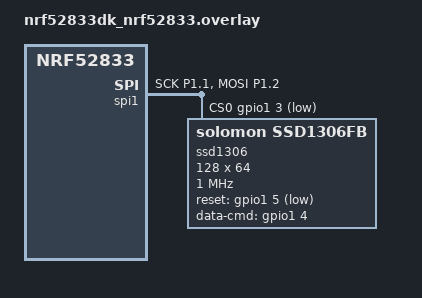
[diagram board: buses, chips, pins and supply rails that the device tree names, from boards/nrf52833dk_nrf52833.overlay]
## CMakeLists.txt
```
cmake_minimum_required(VERSION 3.20.0)

find_package(Zephyr REQUIRED HINTS $ENV{ZEPHYR_BASE})
project(tympanometer)

target_sources(app PRIVATE src/main.c src/display.c)
```

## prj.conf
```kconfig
# Display
CONFIG_DISPLAY=y
CONFIG_SSD1306=y

# Switching to SPI instead of I2C
CONFIG_SPI=y

# Memory for display driver framebuffer
CONFIG_HEAP_MEM_POOL_SIZE=2048

# GPIO needed for DC and RES pins
CONFIG_GPIO=y

CONFIG_MAIN_STACK_SIZE=4096

CONFIG_SYSTEM_WORKQUEUE_STACK_SIZE=2048
```

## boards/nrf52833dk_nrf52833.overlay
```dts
/ {
    chosen {
        zephyr,display = &ssd1306;
    };
};

&pinctrl {
    spi1_default: spi1_default {
        group1 {
            psels = <NRF_PSEL(SPIM_SCK, 1, 1)>,
                    <NRF_PSEL(SPIM_MOSI, 1, 2)>;
        };
    };

    spi1_sleep: spi1_sleep {
        group1 {
            psels = <NRF_PSEL(SPIM_SCK, 1, 1)>,
                    <NRF_PSEL(SPIM_MOSI, 1, 2)>;
            low-power-enable;
        };
    };
};

&spi1 {
    status = "okay";
    compatible = "nordic,nrf-spim";
    pinctrl-0 = <&spi1_default>;
    pinctrl-1 = <&spi1_sleep>;
    pinctrl-names = "default", "sleep";
    cs-gpios = <&gpio1 3 GPIO_ACTIVE_LOW>;

    ssd1306: ssd1306@0 {
        compatible = "solomon,ssd1306fb";
        reg = <0>;
        spi-max-frequency = <1000000>;
        width = <128>;
        height = <64>;
        segment-offset = <0>;
        page-offset = <0>;
        display-offset = <0>;
        multiplex-ratio = <63>;
        segment-remap;
        com-invdir;
        prechargep = <0x22>;
        reset-gpios = <&gpio1 5 GPIO_ACTIVE_LOW>;
        data-cmd-gpios = <&gpio1 4 GPIO_ACTIVE_HIGH>;
    };
};

&i2c0 {
    status = "disabled";
};
```

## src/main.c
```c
/* main.c - display test harness: cycles through all screen states on the DK */

#include "display.h"
#include <zephyr/kernel.h>
#include <string.h>          /* strncpy */

/* Build a fake measurement (Lorentzian peak) so we can exercise Results/Summary. */
static void make_demo(struct tymp_results *r, const char *type, char ear,
                      int16_t conf, int16_t ecv, int16_t sa, int16_t tpp,
                      int ppp, int peak_sa, int base, int width)
{
	strncpy(r->type, type, sizeof(r->type));
	r->ear = ear;
	r->confidence_x100 = conf;
	r->ecv_x10 = ecv;
	r->sa_x100 = sa;
	r->tpp_dapa = tpp;
	r->n_points = 64;
	int n = r->n_points;
	int peak = (400 + ppp) * (n - 1) / 600;
	for (int i = 0; i < n; i++) {
		r->points[i].pressure_dapa = (int16_t)(-400 + i * 600 / (n - 1));
		int d = i - peak;
		int k = (d > 0) ? 3 : 2;
		int v = peak_sa * width / (width + d * d * k);
		r->points[i].admittance_x100 = (int16_t)(v < base ? base : v);
	}
}

int main(void)
{
	if (display_init() != 0)
		return -1;                 /* panel not ready - bail */

	static struct tymp_results left, right;
	make_demo(&left,  "A", 'L', 92, 11, 65,    0,    0, 65, 10, 50);  /* Type A */
	make_demo(&right, "C", 'R', 90, 11, 55, -150, -150, 55, 10, 50);  /* Type C */

	for (int i = 0; i < 5; i++) display_set_post(i, true);   /* boot checklist all OK */
	display_set_battery(85);

	while (1) {
		display_set_ear('L');
		display_show_state(DISPLAY_BOOT);          k_sleep(K_SECONDS(2));
		display_show_state(DISPLAY_READY);         k_sleep(K_SECONDS(2));
		display_show_state(DISPLAY_SEEKING_SEAL);  k_sleep(K_SECONDS(2));
		display_show_state(DISPLAY_MEASURING);     k_sleep(K_SECONDS(2));  /* blank */
		display_show_tymp(&left);                  k_sleep(K_SECONDS(6));  /* watch it page */
		display_show_state(DISPLAY_REARM);         k_sleep(K_SECONDS(2));

		display_set_ear('R');
		display_show_state(DISPLAY_SEEKING_SEAL);  k_sleep(K_SECONDS(2));
		display_show_state(DISPLAY_MEASURING);     k_sleep(K_SECONDS(2));
		display_show_tymp(&right);                 k_sleep(K_SECONDS(6));

		display_show_state(DISPLAY_SUMMARY);       k_sleep(K_SECONDS(3));
		display_show_state(DISPLAY_WARNING);       k_sleep(K_SECONDS(2));
		display_show_state(DISPLAY_ERROR);         k_sleep(K_SECONDS(2));

		static const int demo_angles[][2] = {
			{ 12, -7 }, { 0, -14 }, { -12, -7 }, { -14, 0 },
			{ -12, 7 }, { 0, 14 }, { 12, 7 }, { 14, 0 },
			{ 8, 5 }, { 4, 2 }, { 0, 0 },
		};
		for (int i = 0; i < (int)(sizeof(demo_angles)/sizeof(demo_angles[0])); i++) {
			display_set_angle(demo_angles[i][0], demo_angles[i][1]);
			display_show_state(DISPLAY_LEVEL);
			k_sleep(K_MSEC(400));
		}
		display_show_state(DISPLAY_SLEEP);         k_sleep(K_SECONDS(2));
		
	}
}
```

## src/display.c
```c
#include "display.h" // includes my own header, so that .c knows about tymp_results, display_state, and the macros
#include <zephyr/kernel.h> // timers, sleep
#include <zephyr/device.h> // device binding macros
#include <zephyr/drivers/display.h> // display driver API
#include <string.h> // memset, strcpy
#include <stdint.h>
#include <stdbool.h>

static const struct device *disp; // global variable for the display device
static uint8_t fb[DISPLAY_WIDTH * DISPLAY_HEIGHT / 8]; // framebuffer for the display, 1 bit per pixel

static struct tymp_results cur; // global variable to hold the current results, so that display can access them. I didn't use a pointer, to make sure the memory doesn't have to stay valid forever. 
static int results_page; // global variable to track which page of results we're on, since there are more results than can fit on the display at once

static struct tymp_results res_left, res_right; // global variables to hold the left and right ear results, so that we can display them when we have them both. I didn't use pointers, to make sure the memory doesn't have to stay valid forever.
static bool have_left, have_right; // global variables to track whether we have the left and right ear results, so that we know when to display them.

static int tilt_x_deg, tilt_y_deg; // global variables to hold the current tilt of the device, which will affect the display during seeking seal
static int isqrt(int v) { int r = 0; while ((r+1)*(r+1) <= v) r++; return r; }
static int batt_pct = 100; // global variable for battery percentage, initialized to 100%
static char cur_ear = 'L'; // global variable for current ear, initialized to 'L'
static bool post_ok[5]; // global variable for POST results
static int seal_phase; // global variable for seal phase, which will affect the display during seeking seal

static const uint8_t font[][3] = {
	{0x1F,0x11,0x1F},{0x12,0x1F,0x10},{0x1D,0x15,0x17},{0x15,0x15,0x1F}, /* 0-3 */
	{0x07,0x04,0x1F},{0x17,0x15,0x1D},{0x1F,0x15,0x1D},{0x01,0x01,0x1F}, /* 4-7 */
	{0x1F,0x15,0x1F},{0x17,0x15,0x1F},                                   /* 8-9 */
	{0x04,0x0E,0x04},{0x04,0x04,0x04},{0x10,0x00,0x00},                  /* + - . */
	{0x1E,0x05,0x1E},{0x1F,0x15,0x0A},{0x0E,0x11,0x11},{0x1F,0x15,0x11}, /* A B C E */
	{0x1F,0x10,0x10},{0x1F,0x05,0x02},{0x12,0x15,0x09},                  /* L P S */
	{0x07,0x18,0x07},                                                    /* V (improved) */
	{0x0C,0x16,0x1E},{0x1C,0x14,0x1F},{0x1E,0x06,0x1E},                  /* a d m */
	{0x1F,0x05,0x1A},{0x01,0x1F,0x01},                                   /* R T (new) */
};
static int fidx(char c)
{
	if (c >= '0' && c <= '9') return c - '0';
	switch (c) {
	case '+': return 10; case '-': return 11; case '.': return 12;
	case 'A': return 13; case 'B': return 14; case 'C': return 15;
	case 'E': return 16; case 'L': return 17; case 'P': return 18;
	case 'S': case 's': return 19; case 'V': return 20;
	case 'a': return 21; case 'd': return 22; case 'm': return 23;
	case 'R': return 24; case 'T': return 25;
	}
	return -1;
}

static inline void setpx(int x, int y)
{
	if ((unsigned)x < DISPLAY_WIDTH && (unsigned)y < DISPLAY_HEIGHT)
		fb[(y >> 3) * DISPLAY_WIDTH + x] |= 1 << (y & 7);
}
static void hline(int x0, int x1, int y) { for (int x = x0; x <= x1; x++) setpx(x, y); }
static void vline(int x, int y0, int y1) { for (int y = y0; y <= y1; y++) setpx(x, y); }

static void glyph(int x, int y, char c, int sx, int sy)
{
	int i = fidx(c);
	if (i < 0) return;
	for (int col = 0; col < 3; col++) {
		uint8_t b = font[i][col];
		for (int row = 0; row < 5; row++)
			if (b & (1 << row))
				for (int dy = 0; dy < sy; dy++)
					for (int dx = 0; dx < sx; dx++)
						setpx(x + col*sx + dx, y + row*sy + dy);
	}
}
static int text(int x, int y, const char *s, int sx, int sy)
{
	for (; *s; s++) {
		if (*s != ' ') glyph(x, y, *s, sx, sy);
		x += (*s == '.') ? 2*sx : 4*sx;
	}
	return x;
}
static int uint_to_str(char *buf, unsigned v)
{
	char tmp[6]; int n = 0;
	do { tmp[n++] = '0' + v % 10; v /= 10; } while (v);
	int i = 0; while (n--) buf[i++] = tmp[n];
	return i;
}
static int num(int x, int y, int v, int sx, int sy)
{
	char buf[8]; int i = 0;
	if (v < 0) { buf[i++] = '-'; v = -v; }
	i += uint_to_str(buf + i, v); buf[i] = 0;
	return text(x, y, buf, sx, sy);
}
static int decN(int x, int y, int v, int dec, int sx, int sy)
{
	char buf[12]; int i = 0;
	if (v < 0) { buf[i++] = '-'; v = -v; }
	int divisor = 1; for (int d = 0; d < dec; d++) divisor *= 10;
	i += uint_to_str(buf + i, v / divisor);
	buf[i++] = '.';
	int frac = v % divisor;
	for (int d = dec - 1; d >= 0; d--) {
		int p = 1; for (int k = 0; k < d; k++) p *= 10;
		buf[i++] = '0' + (frac / p) % 10;
	}
	buf[i] = 0;
	return text(x, y, buf, sx, sy);
}

static const struct { char c; uint8_t col[5]; } font57[] = {
	{'A',{0x7E,0x09,0x09,0x09,0x7E}},{'B',{0x7F,0x49,0x49,0x49,0x36}},
	{'C',{0x3E,0x41,0x41,0x41,0x22}},{'D',{0x7F,0x41,0x41,0x22,0x1C}},
	{'E',{0x7F,0x49,0x49,0x49,0x41}},{'F',{0x7F,0x09,0x09,0x09,0x01}},
	{'G',{0x3E,0x41,0x49,0x49,0x3A}},{'H',{0x7F,0x08,0x08,0x08,0x7F}},
	{'I',{0x00,0x41,0x7F,0x41,0x00}},{'J',{0x30,0x40,0x41,0x3F,0x01}},
	{'K',{0x7F,0x08,0x1C,0x22,0x41}},{'L',{0x7F,0x40,0x40,0x40,0x40}},
	{'M',{0x7F,0x02,0x0C,0x02,0x7F}},{'N',{0x7F,0x02,0x0C,0x10,0x7F}},
	{'O',{0x3E,0x41,0x41,0x41,0x3E}},{'P',{0x7F,0x09,0x09,0x09,0x06}},
	{'R',{0x7F,0x09,0x19,0x29,0x46}},{'S',{0x46,0x49,0x49,0x09,0x30}},
	{'T',{0x01,0x01,0x7F,0x01,0x01}},{'U',{0x3F,0x40,0x40,0x40,0x3F}},
	{'V',{0x0F,0x30,0x40,0x30,0x0F}},{'W',{0x7F,0x20,0x18,0x20,0x7F}},
	{'X',{0x63,0x14,0x08,0x14,0x63}},{'Y',{0x03,0x04,0x78,0x04,0x03}},
	{'Z',{0x61,0x51,0x49,0x45,0x43}},
	{'0',{0x3E,0x51,0x4D,0x43,0x3E}},{'1',{0x00,0x42,0x7F,0x40,0x00}},
	{'2',{0x62,0x51,0x49,0x49,0x46}},{'3',{0x21,0x41,0x45,0x47,0x39}},
	{'4',{0x18,0x14,0x12,0x7F,0x10}},{'5',{0x27,0x45,0x45,0x45,0x39}},
	{'6',{0x3C,0x4A,0x49,0x49,0x30}},{'7',{0x01,0x71,0x09,0x05,0x03}},
	{'8',{0x36,0x49,0x49,0x49,0x36}},{'9',{0x06,0x49,0x49,0x29,0x1E}},
	{' ',{0x00,0x00,0x00,0x00,0x00}},{'.',{0x00,0x60,0x60,0x00,0x00}},
	{'-',{0x00,0x08,0x08,0x08,0x00}},{'!',{0x00,0x00,0x5F,0x00,0x00}},
	{':',{0x00,0x36,0x36,0x00,0x00}},
};
static const uint8_t *font57_lookup(char c)
{
	for (unsigned i = 0; i < sizeof(font57)/sizeof(font57[0]); i++)
		if (font57[i].c == c) return font57[i].col;
	return NULL;
}
static void glyph57(int x, int y, char c, int sx, int sy)
{
	const uint8_t *g = font57_lookup(c);
	if (!g) return;
	for (int col = 0; col < 5; col++) {
		uint8_t b = g[col];
		for (int row = 0; row < 7; row++)
			if (b & (1 << row))
				for (int dy = 0; dy < sy; dy++)
					for (int dx = 0; dx < sx; dx++)
						setpx(x + col*sx + dx, y + row*sy + dy);
	}
}
static int text57(int x, int y, const char *s, int sx)
{
	for (; *s; s++) { glyph57(x, y, *s, sx, sx); x += 6 * sx; }
	return x;
}
static void ctext57(int y, const char *s, int sx)
{
	int w = 0; for (const char *p = s; *p; p++) w += 6 * sx;
	text57((DISPLAY_WIDTH - w) / 2, y, s, sx);
}

static void circle(int cx, int cy, int r) {
	int x = r, y = 0, err = 1 - r;
	while (x >= y) {
		setpx(cx+x,cy+y); setpx(cx+y,cy+x); setpx(cx-x,cy+y); setpx(cx-y,cy+x);
		setpx(cx-x,cy-y); setpx(cx-y,cy-x); setpx(cx+x,cy-y); setpx(cx+y,cy-x);
		y++;
		if (err < 0) err += 2*y + 1;
		else { x--; err += 2*(y - x) + 1; }
	}
}

static void draw_battery(int x, int y, int pct)
{
	hline(x, x+10, y); hline(x, x+10, y+6);
	vline(x, y, y+6);  vline(x+10, y, y+6);
	vline(x+11, y+2, y+4);
	int bars = (pct * 3 + 50) / 100;
	for (int b = 0; b < bars; b++)
		for (int xx = x+2+b*3; xx < x+4+b*3; xx++) vline(xx, y+2, y+4);
}

static void disc(int cx, int cy, int r)          /* filled disc */
{
	for (int yy = -r; yy <= r; yy++)
		for (int xx = -r; xx <= r; xx++)
			if (xx*xx + yy*yy <= r*r) setpx(cx+xx, cy+yy);
}

static const char *ble_rows[9] = {
	"..#..","..##.","#.#.#",".###.","..#..",".###.","#.#.#","..##.","..#.."
};
static void draw_ble(int x, int y)
{
	for (int r = 0; r < 9; r++)
		for (int c = 0; c < 5; c++)
			if (ble_rows[r][c] == '#') setpx(x + c, y + r);
}
static void draw_check(int x, int y)
{
	setpx(x+4,y); setpx(x+3,y+1); setpx(x,y+2); setpx(x+2,y+2);
	setpx(x+1,y+3); setpx(x+2,y+4);
}
static void draw_warn(int cx, int y)            /* warning triangle with ! */
{
	for (int i = 0; i < 11; i++) { setpx(cx-i, y+i); setpx(cx+i, y+i); }
	hline(cx-10, cx+10, y+11);
	vline(cx, y+3, y+7); setpx(cx, y+9);
}
static void draw_x(int x, int y)                /* 13x13 error X */
{
	for (int i = 0; i < 13; i++) { setpx(x+i, y+i); setpx(x+12-i, y+i); }
}
static void draw_dot(int x, int y, bool filled) /* 3x3 filled or outline */
{
	for (int yy = y; yy < y+3; yy++)
		for (int xx = x; xx < x+3; xx++)
			if (filled || xx==x || xx==x+2 || yy==y || yy==y+2) setpx(xx, yy);
}

int display_init(void) {
    disp = DEVICE_DT_GET(DT_CHOSEN(zephyr_display)); // get the display device from the device tree
    if (!device_is_ready(disp))
        return -ENODEV; // no such device error if display is not ready
    display_blanking_off(disp); // turn on the display
    return 0;   
    }

void display_blank(void) {
    display_blanking_on(disp); // turn off the display. this is what measuring and sleep modes will call to save power
}
 
static void flush(void)
{
	display_blanking_off(disp);          /* panel on whenever we draw */
	struct display_buffer_descriptor desc = {
		.buf_size = sizeof(fb),
		.width    = DISPLAY_WIDTH,
		.height   = DISPLAY_HEIGHT,
		.pitch    = DISPLAY_WIDTH,
	};
	display_write(disp, 0, 0, &desc, fb);
}

static void draw_pinned(void) {
    glyph(STAT_TYPE_X, STAT_TYPE_Y, cur.type[0], 2, 3);
    if (cur.type[1])
        glyph(STAT_TYPE_SUFFIX_X, STAT_TYPE_SUFFIX_Y, cur.type[1], 2, 3);
    glyph(STAT_EAR_X, STAT_EAR_Y, cur.ear, 2, 2);       
    }

static void draw_page(void) {
    if (results_page == 0) {
        decN(CONF_X, STAT_VALUE_Y, cur.confidence_x100, 2, 2, 2);
    } else {
        text(ECV_X, STAT_LABEL_Y, "ECV", 1, 1);
        decN(ECV_X, STAT_VALUE_Y, cur.ecv_x10, 1, 2, 2);
        text(SA_X, STAT_LABEL_Y, "SA", 1, 1);
        decN(SA_X, STAT_VALUE_Y, cur.sa_x100, 2, 2, 2);
        text(TPP_X, STAT_LABEL_Y, "TPP", 1, 1);
        num(TPP_X, STAT_VALUE_Y, cur.tpp_dapa, 2, 2);
        }
}

static void draw_curve(void) //James Curve Plotter
{
	int span = GRAPH_P_MAX_DAPA - GRAPH_P_MIN_DAPA;          /* 600 daPa */
	int bot  = GRAPH_Y + GRAPH_H - 1;                        /* bottom row, 62 */
	int x0   = 1 + (0 - GRAPH_P_MIN_DAPA) * (DISPLAY_WIDTH - 2) / span;        /* 0 daPa column */
	int y10  = bot - 1 - 100 * (GRAPH_H - 3) / GRAPH_Y_MAX_X100;          /* 1.0 mL row */

	/* dotted gridlines: baseline, 1.0 mL, and the 0 daPa vertical */
	for (int x = 0; x < DISPLAY_WIDTH; x += 2) { setpx(x, bot); setpx(x, y10); }
	for (int y = GRAPH_Y + 1; y < bot; y += 2) setpx(x0, y);

	/* the curve itself, with linear interpolation between points */
	int px = -1, py = -1;
	for (int i = 0; i < cur.n_points; i++) {
		int cx = 1 + (cur.points[i].pressure_dapa - GRAPH_P_MIN_DAPA) * (DISPLAY_WIDTH - 2) / span;
		int cy = bot - 1 - cur.points[i].admittance_x100 * (GRAPH_H - 3) / GRAPH_Y_MAX_X100;
		if (cy < GRAPH_Y) cy = GRAPH_Y;                 /* clamp to top of plot */
		setpx(cx, cy);
		if (px >= 0) {
			int dx = cx - px, dy = cy - py;
			int steps = (dx < 0 ? -dx : dx);
			int ady   = (dy < 0 ? -dy : dy);
			if (ady > steps) steps = ady;
			for (int s = 1; s < steps; s++)
				setpx(px + dx * s / steps, py + dy * s / steps);
		}
		px = cx; py = cy;
	}
}

static void draw_page_dots(void) {
    draw_dot(DOT1_X, DOT_Y, results_page == 0);
    draw_dot(DOT2_X, DOT_Y, results_page == 1);
}

static void render_results(void) {
    memset(fb, 0, sizeof(fb));
    draw_pinned(); // draw the pinned values on the current page, so that they update when we switch pages
    draw_page(); // draw the page number on the current page, so that it updates when we switch pages
    draw_curve(); // draw the curve on the current page, so that it updates when we switch pages
    draw_page_dots(); // draw the dots on the current page, so that they update when we switch pages
    flush(); // update the display with the new framebuffer
}


static void render_ready(void)
{
	memset(fb, 0, sizeof(fb));
	draw_battery(2, 4, batt_pct);          /* status bar: battery */
	draw_ble(22, 3);                       /* status bar: BLE     */
	glyph(118, 4, cur_ear, 1, 1);          /* status bar: L/R     */
	ctext57(24, "INSERT EAR TIP", 1);
	ctext57(38, "PRESS TO START", 1);
	flush();
}

static void render_boot(void)
{
	static const char *items[] = { "DISP", "MIC", "PRES", "MOTOR", "BLE" };
	memset(fb, 0, sizeof(fb));
	ctext57(2, "SELF TEST", 1);
	for (int i = 0; i < 5; i++) {
		int yy = 14 + i*10;
		text57(6, yy, items[i], 1);
		if (post_ok[i]) draw_check(70, yy+1);   /* tick once that interface passes */
	}
	flush();
}

static void render_error(void)
{
	memset(fb, 0, sizeof(fb));
	draw_x(57, 4);
	ctext57(24, "SENSOR ERROR", 1);
	ctext57(44, "PRESS TO RESTART", 1);
	flush();
}

static void render_measuring(void) { display_blank(); }
static void render_sleep(void)     { display_blank(); }

/* generalized curve: draws into any box (used by Summary's mini-plots) */
static void draw_curve_into(int ox, int oy, int w, int h, const struct tymp_results *r)
{
	int span = GRAPH_P_MAX_DAPA - GRAPH_P_MIN_DAPA;
	int bot  = oy + h - 1;
	int x0   = ox + (0 - GRAPH_P_MIN_DAPA) * (w - 2) / span;
	int y10  = bot - 1 - 100 * (h - 3) / GRAPH_Y_MAX_X100;
	for (int x = ox; x < ox + w; x += 2) { setpx(x, bot); setpx(x, y10); }
	for (int y = oy + 1; y < bot; y += 2) setpx(x0, y);
	int px = -1, py = -1;
	for (int i = 0; i < r->n_points; i++) {
		int cx = ox + (r->points[i].pressure_dapa - GRAPH_P_MIN_DAPA) * (w - 2) / span;
		int cy = bot - 1 - r->points[i].admittance_x100 * (h - 3) / GRAPH_Y_MAX_X100;
		if (cy < oy) cy = oy;
		setpx(cx, cy);
		if (px >= 0) {
			int dx = cx - px, dy = cy - py;
			int steps = (dx < 0 ? -dx : dx), ady = (dy < 0 ? -dy : dy);
			if (ady > steps) steps = ady;
			for (int s = 1; s < steps; s++) setpx(px + dx*s/steps, py + dy*s/steps);
		}
		px = cx; py = cy;
	}
}

static void render_seeking_seal(void)
{
	memset(fb, 0, sizeof(fb));
	ctext57(18, "ADJUST FOR", 1);
	ctext57(30, "SEAL", 1);
	for (int i = 0; i < 3; i++) draw_dot(56 + i*8, 46, i == seal_phase);
	flush();
}

static void render_rearm(void)
{
	memset(fb, 0, sizeof(fb));
	ctext57(16, (cur_ear == 'L') ? "RIGHT EAR NEXT" : "LEFT EAR NEXT", 1);
	ctext57(40, "PRESS TO START", 1);
	flush();
}

static void render_summary(void)
{
	memset(fb, 0, sizeof(fb));
	ctext57(1, "SUMMARY", 1);
	vline(63, 14, 62);
	if (have_left) {
		glyph57(6, 16, 'L', 1, 1);
		glyph57(20, 16, res_left.type[0], 1, 1);
		draw_curve_into(2, 26, 58, 36, &res_left);
	}
	if (have_right) {
		glyph57(70, 16, 'R', 1, 1);
		glyph57(84, 16, res_right.type[0], 1, 1);
		draw_curve_into(66, 26, 58, 36, &res_right);
	}
	flush();
}

static void render_warning(void)
{
	memset(fb, 0, sizeof(fb));
	draw_warn(20, 6);
	text57(40, 10, "LOW", 1);
	text57(40, 24, "BATTERY", 1);
	flush();
}

void display_set_battery(int pct)         { batt_pct = pct; }
void display_set_ear(char lr)             { cur_ear = lr; }
void display_set_post(int index, bool ok) { if (index >= 0 && index < 5) post_ok[index] = ok; }
void display_set_angle(int x_deg, int y_deg) { tilt_x_deg = x_deg; tilt_y_deg = y_deg; }

void display_advance_page(void)
{
	results_page ^= 1;     /* toggle 0 <-> 1 */
	render_results();      /* redraw with the new page */
}

static void page_work_handler(struct k_work *work)
{
	display_advance_page();          /* SPI happens here, in thread context - safe */
}
static K_WORK_DEFINE(page_work, page_work_handler);

static void page_timer_expiry(struct k_timer *t)
{
	k_work_submit(&page_work);        /* interrupt context: just hand off the job */
}

static void render_level(void)
{
	memset(fb, 0, sizeof(fb));

	int mag = isqrt(tilt_x_deg*tilt_x_deg + tilt_y_deg*tilt_y_deg);
	char buf[8]; int i = 0; i += uint_to_str(buf + i, mag); buf[i] = 0;
	int rx = text57(2, 1, buf, 1);
	circle(rx + 1, 2, 1);                          /* tiny degree symbol */

	for (int x = LEVEL_CX-LEVEL_R; x <= LEVEL_CX+LEVEL_R; x += 2) setpx(x, LEVEL_CY);
	for (int y = LEVEL_CY-LEVEL_R; y <= LEVEL_CY+LEVEL_R; y += 2) setpx(LEVEL_CX, y);
	circle(LEVEL_CX, LEVEL_CY, LEVEL_R);
	circle(LEVEL_CX, LEVEL_CY, LEVEL_TOL);

	int lim = LEVEL_R - 2;
	int ox = tilt_x_deg;  if (ox >  lim) ox =  lim; if (ox < -lim) ox = -lim;
	int oy = -tilt_y_deg; if (oy >  lim) oy =  lim; if (oy < -lim) oy = -lim;

	if (mag <= LEVEL_FLAT_DEG) disc(LEVEL_CX, LEVEL_CY, LEVEL_TOL-1);  /* level: fill */
	else                       disc(LEVEL_CX+ox, LEVEL_CY+oy, 4);      /* bubble       */

	flush();
}

static K_TIMER_DEFINE(page_timer, page_timer_expiry, NULL);

void display_show_state(enum display_state state)
{
	if (state != DISPLAY_RESULTS) k_timer_stop(&page_timer);
	switch (state) {
	case DISPLAY_BOOT:         render_boot();         break;
	case DISPLAY_READY:        render_ready();        break;
	case DISPLAY_SEEKING_SEAL: render_seeking_seal(); break;
	case DISPLAY_MEASURING:    render_measuring();    break;   /* blanks */
	case DISPLAY_RESULTS:      render_results();      break;   /* uses cur from display_show_tymp */
	case DISPLAY_REARM:        render_rearm();        break;
	case DISPLAY_SUMMARY:      render_summary();      break;
	case DISPLAY_WARNING:      render_warning();      break;
	case DISPLAY_ERROR:        render_error();        break;
	case DISPLAY_SLEEP:        render_sleep();        break;   /* blanks */
	case DISPLAY_LEVEL:        render_level();        break;
	}
}

void display_show_tymp(const struct tymp_results *res)
{
	cur = *res;
	if (cur.ear == 'R') { res_right = cur; have_right = true; }
	else                { res_left  = cur; have_left  = true; }
	results_page = 0;
	render_results();
	k_timer_start(&page_timer, K_MSEC(RESULTS_PAGE_MS), K_MSEC(RESULTS_PAGE_MS));
}
```

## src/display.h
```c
#ifndef DISPLAY_H
#define DISPLAY_H

#include <stdint.h>
#include <stdbool.h>

#define DISPLAY_WIDTH        128
#define DISPLAY_HEIGHT       64

/* Results: pinned elements */
#define STAT_TYPE_X          1
#define STAT_TYPE_Y          1
#define STAT_TYPE_SUFFIX_X   9
#define STAT_TYPE_SUFFIX_Y   6
#define STAT_EAR_X           112
#define STAT_EAR_Y           3

/* Results: stat band rows */
#define STAT_LABEL_Y         0
#define STAT_VALUE_Y         6

/* Results: page-1 confidence, page-2 columns */
#define CONF_X               34
#define ECV_X                20
#define SA_X                 46
#define TPP_X                78

/* Results: graph geometry */
#define GRAPH_Y              16
#define GRAPH_H              47
#define GRAPH_Y_MAX_X100     180
#define GRAPH_P_MIN_DAPA     (-400)
#define GRAPH_P_MAX_DAPA     200

/* Results: page-indicator dots */
#define DOT1_X               108
#define DOT2_X               114
#define DOT_Y                18

/* Paging */
#define RESULTS_PAGE_MS      2500

/* Level Screen Geometry */
#define LEVEL_CX 		   64
#define LEVEL_CY 		   36
#define LEVEL_R 		   16
#define LEVEL_TOL 	   	   6
#define LEVEL_FLAT_DEG     3

struct tymp_point {
	int16_t pressure_dapa;     /* -400 .. +200 */
	int16_t admittance_x100;   /* 0.01 mL units */
};

struct tymp_results {
	char    type[3];           /* "A","As","Ad","B","C" */
	char    ear;               /* 'L' or 'R'            */
	int16_t confidence_x100;   /* 92 = 0.92             */
	int16_t ecv_x10;           /* 0.1 mL units          */
	int16_t sa_x100;           /* 0.01 mL units         */
	int16_t tpp_dapa;          /* daPa                  */
	struct tymp_point points[64];
	int     n_points;
};

enum display_state {
	DISPLAY_BOOT, DISPLAY_READY, DISPLAY_SEEKING_SEAL, DISPLAY_MEASURING,
	DISPLAY_RESULTS, DISPLAY_REARM, DISPLAY_SUMMARY, DISPLAY_WARNING,
	DISPLAY_ERROR, DISPLAY_SLEEP, DISPLAY_LEVEL,
};

int  display_init(void);
void display_show_state(enum display_state state);
void display_show_tymp(const struct tymp_results *res);
void display_advance_page(void);
void display_blank(void);

void display_set_battery(int pct);
void display_set_ear(char lr);          /* 'L' or 'R' */
void display_set_post(int index, bool ok);
void display_set_angle(int x_deg, int y_deg);

#endif
```
